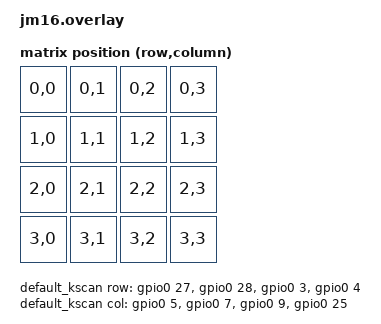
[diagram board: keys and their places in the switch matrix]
/*
 * Copyright (c) 2020 The ZMK Contributors
 *
 * SPDX-License-Identifier: MIT
 */

#include <dt-bindings/zmk/matrix_transform.h>
#include <dt-bindings/led/led.h>
#include "jm16-layout.dtsi"

/ {

	chosen {

        zmk,kscan = &default_kscan;
        zmk,physical-layout = &jm16_layout;
        zmk,underglow = &led_strip;
	};
    
    default_kscan: kscan {
        compatible = "zmk,kscan-gpio-matrix";
        label = "default_kscan";
        diode-direction = "col2row";

        row-gpios = <&gpio0 27  (GPIO_ACTIVE_HIGH | GPIO_PULL_DOWN)>,
                    <&gpio0 28  (GPIO_ACTIVE_HIGH | GPIO_PULL_DOWN)>,
                    <&gpio0 3  (GPIO_ACTIVE_HIGH | GPIO_PULL_DOWN)>,
                    <&gpio0 4  (GPIO_ACTIVE_HIGH | GPIO_PULL_DOWN)>;
 
        col-gpios = <&gpio0 5  GPIO_ACTIVE_HIGH>,
                    <&gpio0 7 GPIO_ACTIVE_HIGH>,
                    <&gpio0 9  GPIO_ACTIVE_HIGH>,
                    <&gpio0 25  GPIO_ACTIVE_HIGH>;
    };

    default_transform: matrix_transform {
        compatible = "zmk,matrix-transform";
        rows = <4>;
        columns = <4>;

        map = <
            RC(0,0) RC(0,1) RC(0,2) RC(0,3)
            RC(1,0) RC(1,1) RC(1,2) RC(1,3)
            RC(2,0) RC(2,1) RC(2,2) RC(2,3)
            RC(3,0) RC(3,1) RC(3,2) RC(3,3)
        >;
    };
};

&uart0 {
	status = "disabled";
};

zephyr_udc0: &usbd {
    compatible = "nordic,nrf-usbd";
    status = "okay";
};

&spi0{
    compatible = "nordic,nrf-spim";
    status = "okay";

    pinctrl-0 = <&spi0_default>;
    pinctrl-1 = <&spi0_sleep>;
    pinctrl-names = "default", "sleep";

    led_strip: ws2812@0 {
        compatible = "worldsemi,ws2812-spi";

        /* SPI */
        reg = <0>; /* ignored, but necessary for SPI bindings */
        spi-max-frequency = <4000000>;

        /* WS2812 */
        chain-length = <7>; /* 6 keys have underglow at the moment */
        spi-one-frame = <0x70>;
        spi-zero-frame = <0x40>;

        color-mapping = <LED_COLOR_ID_GREEN LED_COLOR_ID_RED LED_COLOR_ID_BLUE>;
    };
};
